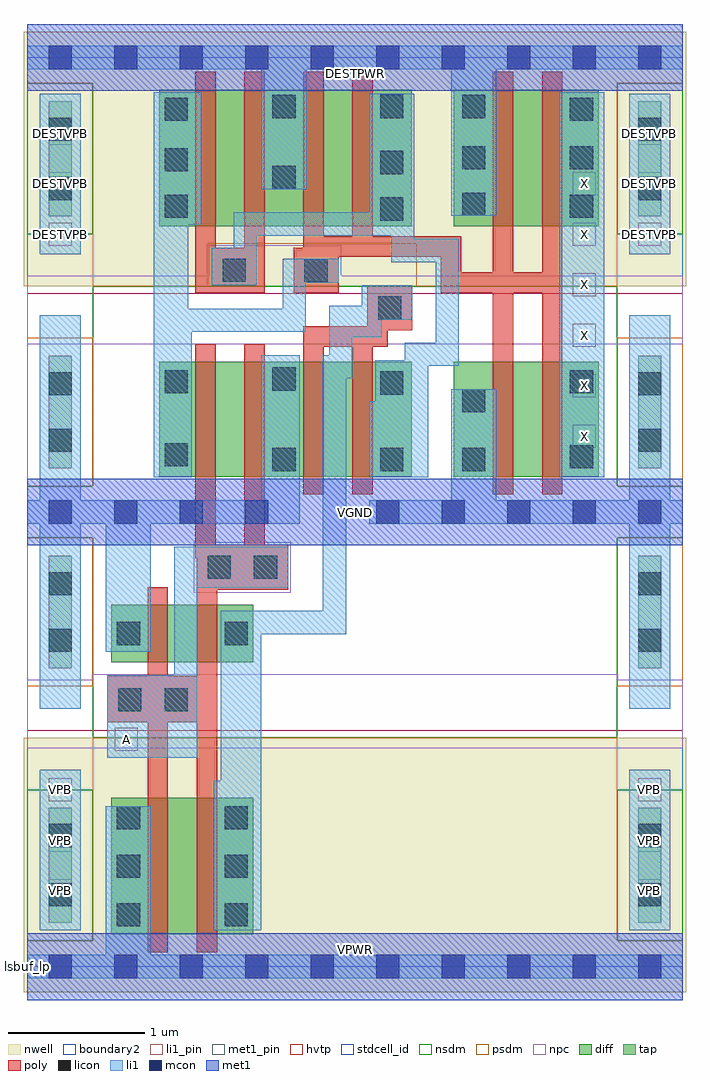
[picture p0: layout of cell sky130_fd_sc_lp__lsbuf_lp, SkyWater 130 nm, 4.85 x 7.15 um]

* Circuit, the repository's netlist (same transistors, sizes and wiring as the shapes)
* Copyright 2020 The SkyWater PDK Authors
*
* Licensed under the Apache License, Version 2.0 (the "License");
* you may not use this file except in compliance with the License.
* You may obtain a copy of the License at
*
*     https://www.apache.org/licenses/LICENSE-2.0
*
* Unless required by applicable law or agreed to in writing, software
* distributed under the License is distributed on an "AS IS" BASIS,
* WITHOUT WARRANTIES OR CONDITIONS OF ANY KIND, either express or implied.
* See the License for the specific language governing permissions and
* limitations under the License.
*
* SPDX-License-Identifier: Apache-2.0

.SUBCKT sky130_fd_sc_lp__lsbuf_lp A DESTPWR DESTVPB VGND VPB VPWR X
*.PININFO A:I DESTPWR:I DESTVPB:I VGND:I VPB:I VPWR:I X:O
MI2 cross2 cross1 sndP1a DESTVPB sky130_fd_pr__pfet_01v8_hvt m=1 w=1.0U l=0.15U mult=1
+ sa=0.265 sb=0.265 sd=0.28 area=0.063 perim=1.14
MI3 cross1 cross2 sndP2a DESTVPB sky130_fd_pr__pfet_01v8_hvt m=1 w=1.0U l=0.15U mult=1
+ sa=0.265 sb=0.265 sd=0.28 area=0.063 perim=1.14
MI18 sndP1a cross1 DESTPWR DESTVPB sky130_fd_pr__pfet_01v8_hvt m=1 w=1.0U l=0.15U
+ mult=1 sa=0.265 sb=0.265 sd=0.28 area=0.063
+ perim=1.14
MI20 Ab A net56 VPB sky130_fd_pr__pfet_01v8_hvt m=1 w=1.0U l=0.15U mult=1 sa=0.265
+ sb=0.265 sd=0.28 area=0.063 perim=1.14
MI7 net56 A VPWR VPB sky130_fd_pr__pfet_01v8_hvt m=1 w=1.0U l=0.15U mult=1 sa=0.265
+ sb=0.265 sd=0.28 area=0.063 perim=1.14
MI15 net40 cross2 DESTPWR DESTVPB sky130_fd_pr__pfet_01v8_hvt m=1 w=1.0U l=0.15U
+ mult=1 sa=0.265 sb=0.265 sd=0.28 area=0.063
+ perim=1.14
MI19 sndP2a cross2 DESTPWR DESTVPB sky130_fd_pr__pfet_01v8_hvt m=1 w=1.0U l=0.15U
+ mult=1 sa=0.265 sb=0.265 sd=0.28 area=0.063
+ perim=1.14
MI24 X cross2 net40 DESTVPB sky130_fd_pr__pfet_01v8_hvt m=1 w=1.0U l=0.15U mult=1
+ sa=0.265 sb=0.265 sd=0.28 area=0.063 perim=1.14
MI5 cross1 Ab net77 VGND sky130_fd_pr__nfet_01v8 m=1 w=0.84U l=0.15U mult=1 sa=0.265
+ sb=0.265 sd=0.28 area=0.063 perim=1.14
MI4 cross2 A net81 VGND sky130_fd_pr__nfet_01v8 m=1 w=0.84U l=0.15U mult=1 sa=0.265
+ sb=0.265 sd=0.28 area=0.063 perim=1.14
MI8 net93 A VGND VGND sky130_fd_pr__nfet_01v8 m=1 w=0.42U l=0.15U mult=1 sa=0.265
+ sb=0.265 sd=0.28 area=0.063 perim=1.14
MI16 net72 cross2 VGND VGND sky130_fd_pr__nfet_01v8 m=1 w=0.84U l=0.15U mult=1
+ sa=0.265 sb=0.265 sd=0.28 area=0.063 perim=1.14
MI23 Ab A net93 VGND sky130_fd_pr__nfet_01v8 m=1 w=0.42U l=0.15U mult=1 sa=0.265
+ sb=0.265 sd=0.28 area=0.063 perim=1.14
MI21 net81 A VGND VGND sky130_fd_pr__nfet_01v8 m=1 w=0.84U l=0.15U mult=1 sa=0.265
+ sb=0.265 sd=0.28 area=0.063 perim=1.14
MI22 net77 Ab VGND VGND sky130_fd_pr__nfet_01v8 m=1 w=0.84U l=0.15U mult=1 sa=0.265
+ sb=0.265 sd=0.28 area=0.063 perim=1.14
MI25 X cross2 net72 VGND sky130_fd_pr__nfet_01v8 m=1 w=0.84U l=0.15U mult=1 sa=0.265
+ sb=0.265 sd=0.28 area=0.063 perim=1.14
.ENDS sky130_fd_sc_lp__lsbuf_lp

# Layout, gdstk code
import gdstk
lib = gdstk.Library(unit=1e-6, precision=1e-09)
def R(c, l, rs):  # rectangles x0, y0, x1, y1
    for r in rs: c.add(gdstk.rectangle(r[:2], r[2:], *l))
def A(c, l, x, y, w, h, nx, ny, dx, dy):  # array of equal rectangles
    R(c, l, [(x+i*dx, y+j*dy, x+i*dx+w, y+j*dy+h) for i in range(nx) for j in range(ny)])
def P(c, l, *ps):  # polygons
    for p in ps: c.add(gdstk.Polygon(p, *l))
nwell = (64, 20)
diff = (65, 20)
tap = (65, 44)
poly = (66, 20)
licon = (66, 44)
li1_pin = (67, 16)
li1 = (67, 20)
mcon = (67, 44)
met1_pin = (68, 16)
met1 = (68, 20)
hvtp = (78, 44)
stdcell_id = (81, 4)
nsdm = (93, 44)
psdm = (94, 20)
npc = (95, 20)
boundary2 = (236, 0)

sky130_fd_sc_lp__lsbuf_l = lib.new_cell('sky130_fd_sc_lp__lsbuf_lp')
R(sky130_fd_sc_lp__lsbuf_l, nwell, [(-0.025,-0.19,4.825,1.675), (-0.025,4.985,4.825,6.85)])
R(sky130_fd_sc_lp__lsbuf_l, diff, [(0.615,0.235,1.655,1.235), (0.615,2.23,1.655,2.65), (0.965,3.59,2.815,4.43), (3.125,3.59,4.185,4.43), (0.965,5.425,2.815,6.425), (3.125,5.425,4.185,6.425)])
R(sky130_fd_sc_lp__lsbuf_l, tap, [(0.155,0.32,0.325,1.165), (4.475,0.32,4.645,1.165), (0.155,2.185,0.325,3.01), (4.475,2.185,4.645,3.01), (0.155,3.65,0.325,4.475), (4.475,3.65,4.645,4.475), (0.155,5.495,0.325,6.34), (4.475,5.495,4.645,6.34)])
P(sky130_fd_sc_lp__lsbuf_l, poly, [(1.91,3.09),(1.74,3.09),(1.74,4.56),(1.59,4.56),(1.59,3.09),(1.38,3.09),(1.38,4.56),(1.23,4.56),(1.23,2.99),(1.24,2.99),(1.24,2.13),(1.03,2.13),(1.03,2.78),(0.88,2.78),(0.88,2.13),(0.585,2.13),(0.585,1.79),(0.88,1.79),(0.88,0.105),(1.03,0.105),(1.03,1.79),(1.24,1.79),(1.24,0.105),(1.39,0.105),(1.39,2.76),(1.91,2.76)],
  [(3.92,6.555),(3.77,6.555),(3.77,5.085),(3.56,5.085),(3.56,6.555),(3.41,6.555),(3.41,5.085),(3.18,5.085),(3.18,5.35),(2.53,5.35),(2.53,6.555),(2.38,6.555),(2.38,5.35),(2.17,5.35),(2.17,6.555),(2.02,6.555),(2.02,5.265),(1.95,5.265),(1.95,4.935),(2.28,4.935),(2.28,5.2),(3.03,5.2),(3.03,4.935),(3.41,4.935),(3.41,3.46),(3.56,3.46),(3.56,4.935),(3.77,4.935),(3.77,3.46),(3.92,3.46)],
  [(1.74,6.555),(1.59,6.555),(1.59,5.265),(1.38,5.265),(1.38,6.555),(1.23,6.555),(1.23,4.935),(1.74,4.935)],
  [(2.82,4.99),(2.49,4.99),(2.49,4.69),(2.02,4.69),(2.02,3.46),(2.17,3.46),(2.17,4.54),(2.38,4.54),(2.38,3.46),(2.53,3.46),(2.53,4.54),(2.64,4.54),(2.64,4.66),(2.82,4.66)])
A(sky130_fd_sc_lp__lsbuf_l, licon, 0.655, 0.295, 0.17, 0.17, 1, 3, 0, 0.355)
A(sky130_fd_sc_lp__lsbuf_l, licon, 1.445, 0.295, 0.17, 0.17, 1, 3, 0, 0.355)
A(sky130_fd_sc_lp__lsbuf_l, licon, 3.975, 5.485, 0.17, 0.17, 1, 3, 0, 0.355)
R(sky130_fd_sc_lp__lsbuf_l, licon, [(0.155,0.44,0.325,0.61), (4.475,0.44,4.645,0.61), (0.155,0.875,0.325,1.045), (4.475,0.875,4.645,1.045), (0.665,1.87,0.835,2.04), (1.005,1.87,1.175,2.04), (0.155,2.305,0.325,2.475), (4.475,2.305,4.645,2.475), (0.655,2.355,0.825,2.525), (1.445,2.355,1.615,2.525), (0.155,2.72,0.325,2.89), (4.475,2.72,4.645,2.89), (1.32,2.84,1.49,3.01), (1.66,2.84,1.83,3.01), (1.795,3.63,1.965,3.8), (2.585,3.63,2.755,3.8), (3.185,3.63,3.355,3.8), (3.975,3.65,4.145,3.82), (1.005,3.665,1.175,3.835), (0.155,3.77,0.325,3.94), (4.475,3.77,4.645,3.94), (3.185,4.06,3.355,4.23), (0.155,4.185,0.325,4.355), (4.475,4.185,4.645,4.355), (2.585,4.19,2.755,4.36), (1.005,4.2,1.175,4.37), (3.975,4.2,4.145,4.37), (1.795,4.22,1.965,4.39), (2.57,4.74,2.74,4.91), (1.43,5.015,1.6,5.185), (2.03,5.015,2.2,5.185), (2.585,5.465,2.755,5.635), (1.005,5.485,1.175,5.655), (3.185,5.5,3.355,5.67), (0.155,5.615,0.325,5.785), (4.475,5.615,4.645,5.785), (1.795,5.695,1.965,5.865), (2.585,5.805,2.755,5.975), (1.005,5.825,1.175,5.995), (3.185,5.84,3.355,6.01), (0.155,6.05,0.325,6.22), (4.475,6.05,4.645,6.22), (1.005,6.195,1.175,6.365), (1.795,6.215,1.965,6.385), (2.585,6.215,2.755,6.385), (3.185,6.215,3.355,6.385)])
A(sky130_fd_sc_lp__lsbuf_l, li1_pin, 0.155, 0.47, 0.17, 0.17, 1, 3, 0, 0.37)
A(sky130_fd_sc_lp__lsbuf_l, li1_pin, 4.475, 0.47, 0.17, 0.17, 1, 3, 0, 0.37)
A(sky130_fd_sc_lp__lsbuf_l, li1_pin, 3.995, 3.8, 0.17, 0.17, 1, 6, 0, 0.37)
A(sky130_fd_sc_lp__lsbuf_l, li1_pin, 0.155, 5.28, 0.17, 0.17, 1, 3, 0, 0.37)
A(sky130_fd_sc_lp__lsbuf_l, li1_pin, 4.475, 5.28, 0.17, 0.17, 1, 3, 0, 0.37)
R(sky130_fd_sc_lp__lsbuf_l, li1_pin, [(0.64,1.58,0.81,1.75)])
R(sky130_fd_sc_lp__lsbuf_l, li1, [(0.09,0.265,0.39,1.44), (4.41,0.265,4.71,1.44), (3.895,3.585,4.225,6.405), (0.09,5.22,0.39,6.395), (4.41,5.22,4.71,6.395)])
P(sky130_fd_sc_lp__lsbuf_l, li1, [(4.8,0.085),(0.905,0.085),(0.905,1.175),(0.575,1.175),(0.575,0.085),(0,0.085),(0,-0.085),(4.8,-0.085)],
  [(2.82,4.99),(2.45,4.99),(2.45,4.84),(2.21,4.84),(2.21,4.48),(2.165,4.48),(2.165,2.605),(1.415,2.605),(1.415,1.36),(1.365,1.36),(1.365,0.265),(1.715,0.265),(1.715,2.435),(2.335,2.435),(2.335,4.31),(2.38,4.31),(2.38,4.61),(2.595,4.61),(2.595,4.74),(2.82,4.74)],
  [(4.8,3.415),(4.71,3.415),(4.71,4.77),(4.41,4.77),(4.41,3.415),(3.435,3.415),(3.435,4.23),(3.105,4.23),(3.105,3.415),(2.505,3.415),(2.505,3.245),(4.41,3.245),(4.41,1.89),(4.71,1.89),(4.71,3.245),(4.8,3.245)],
  [(2.28,5.185),(1.87,5.185),(1.87,4.82),(1.18,4.82),(1.18,5.435),(1.275,5.435),(1.275,6.405),(0.925,6.405),(0.925,3.585),(1.205,3.585),(1.205,4.65),(2.04,4.65),(2.04,5.01),(2.28,5.01)],
  [(1.91,3.075),(1.075,3.075),(1.075,2.135),(0.585,2.135),(0.585,1.53),(1.245,1.53),(1.245,2.775),(1.91,2.775)],
  [(1.995,4.48),(1.715,4.48),(1.715,3.415),(0.39,3.415),(0.39,4.77),(0.09,4.77),(0.09,3.415),(0,3.415),(0,3.245),(0.09,3.245),(0.09,1.89),(0.39,1.89),(0.39,3.245),(0.575,3.245),(0.575,2.305),(0.905,2.305),(0.905,3.245),(1.995,3.245)],
  [(4.8,6.745),(0,6.745),(0,6.575),(1.715,6.575),(1.715,5.695),(2.045,5.695),(2.045,6.575),(3.105,6.575),(3.105,5.5),(3.435,5.5),(3.435,6.575),(4.8,6.575)],
  [(3.16,5.33),(2.835,5.33),(2.835,6.395),(2.505,6.395),(2.505,5.525),(1.51,5.525),(1.51,5.265),(1.35,5.265),(1.35,4.99),(1.68,4.99),(1.68,5.355),(2.665,5.355),(2.665,5.16),(2.99,5.16),(2.99,4.57),(2.765,4.57),(2.765,4.44),(2.55,4.44),(2.55,4.14),(2.505,4.14),(2.505,3.585),(2.935,3.585),(2.935,4.4),(3.16,4.4)])
A(sky130_fd_sc_lp__lsbuf_l, mcon, 0.155, -0.085, 0.17, 0.17, 10, 2, 0.48, 6.66)
A(sky130_fd_sc_lp__lsbuf_l, mcon, 0.155, 3.245, 0.17, 0.17, 4, 1, 0.48, 0)
A(sky130_fd_sc_lp__lsbuf_l, mcon, 2.555, 3.245, 0.17, 0.17, 5, 1, 0.48, 0)
R(sky130_fd_sc_lp__lsbuf_l, met1_pin, [(0,0,4.8,0.245), (0,3.085,4.8,3.575), (0,6.415,4.8,6.66)])
A(sky130_fd_sc_lp__lsbuf_l, met1, 0, -0.245, 4.8, 0.49, 1, 3, 0, 3.33)
R(sky130_fd_sc_lp__lsbuf_l, hvtp, [(0,0,4.8,1.73), (0,4.93,4.8,6.66)])
R(sky130_fd_sc_lp__lsbuf_l, stdcell_id, [(0,0,4.8,6.66)])
R(sky130_fd_sc_lp__lsbuf_l, nsdm, [(0,0.19,0.48,1.295), (4.32,0.19,4.8,1.295), (0,5.365,0.48,6.47), (4.32,5.365,4.8,6.47)])
P(sky130_fd_sc_lp__lsbuf_l, nsdm, [(4.8,3.52),(4.32,3.52),(4.32,4.985),(0.48,4.985),(0.48,3.52),(0,3.52),(0,3.14),(0.48,3.14),(0.48,1.675),(4.32,1.675),(4.32,3.14),(4.8,3.14)])
R(sky130_fd_sc_lp__lsbuf_l, psdm, [(0,2.055,0.48,3.14), (4.32,2.055,4.8,3.14), (0,3.52,0.48,4.605), (4.32,3.52,4.8,4.605)])
P(sky130_fd_sc_lp__lsbuf_l, psdm, [(4.8,0.19),(4.32,0.19),(4.32,1.675),(0.48,1.675),(0.48,0.19),(0,0.19),(0,-0.19),(4.8,-0.19)],
  [(4.8,6.85),(0,6.85),(0,6.47),(0.48,6.47),(0.48,4.985),(1.32,4.985),(1.32,5.295),(2.85,5.295),(2.85,4.985),(4.32,4.985),(4.32,6.47),(4.8,6.47)])
R(sky130_fd_sc_lp__lsbuf_l, npc, [(1.22,2.74,1.93,3.11)])
P(sky130_fd_sc_lp__lsbuf_l, npc, [(4.8,5.06),(2.3,5.06),(2.3,5.285),(1.33,5.285),(1.33,5.06),(0,5.06),(0,4.56),(4.8,4.56)],
  [(4.8,2.1),(4.32,2.1),(4.32,2.14),(0.48,2.14),(0.48,2.1),(0,2.1),(0,1.6),(4.8,1.6)])
R(sky130_fd_sc_lp__lsbuf_l, boundary2, [(0,0,4.8,6.66)])
sky130_fd_sc_lp__lsbuf_l.add(gdstk.Label('X', (4.08,3.885), layer=67, texttype=5))
sky130_fd_sc_lp__lsbuf_l.add(gdstk.Label('X', (4.08,4.255), layer=67, texttype=5))
sky130_fd_sc_lp__lsbuf_l.add(gdstk.Label('X', (4.08,5.735), layer=67, texttype=5))
sky130_fd_sc_lp__lsbuf_l.add(gdstk.Label('X', (4.08,5.365), layer=67, texttype=5))
sky130_fd_sc_lp__lsbuf_l.add(gdstk.Label('X', (4.08,4.995), layer=67, texttype=5))
sky130_fd_sc_lp__lsbuf_l.add(gdstk.Label('X', (4.08,4.625), layer=67, texttype=5))
sky130_fd_sc_lp__lsbuf_l.add(gdstk.Label('A', (0.725,1.665), layer=67, texttype=5))
sky130_fd_sc_lp__lsbuf_l.add(gdstk.Label('VPB', (0.24,1.295), layer=67, texttype=5))
sky130_fd_sc_lp__lsbuf_l.add(gdstk.Label('VPB', (0.24,0.555), layer=67, texttype=5))
sky130_fd_sc_lp__lsbuf_l.add(gdstk.Label('VPB', (0.24,0.925), layer=67, texttype=5))
sky130_fd_sc_lp__lsbuf_l.add(gdstk.Label('DESTVPB', (0.24,6.105), layer=67, texttype=5))
sky130_fd_sc_lp__lsbuf_l.add(gdstk.Label('DESTVPB', (0.24,5.735), layer=67, texttype=5))
sky130_fd_sc_lp__lsbuf_l.add(gdstk.Label('VPB', (4.56,0.555), layer=67, texttype=5))
sky130_fd_sc_lp__lsbuf_l.add(gdstk.Label('VPB', (4.56,0.925), layer=67, texttype=5))
sky130_fd_sc_lp__lsbuf_l.add(gdstk.Label('DESTVPB', (4.56,6.105), layer=67, texttype=5))
sky130_fd_sc_lp__lsbuf_l.add(gdstk.Label('DESTVPB', (4.56,5.735), layer=67, texttype=5))
sky130_fd_sc_lp__lsbuf_l.add(gdstk.Label('DESTVPB', (4.56,5.365), layer=67, texttype=5))
sky130_fd_sc_lp__lsbuf_l.add(gdstk.Label('VPB', (4.56,1.295), layer=67, texttype=5))
sky130_fd_sc_lp__lsbuf_l.add(gdstk.Label('DESTVPB', (0.24,5.365), layer=67, texttype=5))
sky130_fd_sc_lp__lsbuf_l.add(gdstk.Label('lsbuf_lp', (0,0), layer=83, texttype=44))
sky130_fd_sc_lp__lsbuf_l.add(gdstk.Label('VPWR', (2.4,0.125), layer=68, texttype=5))
sky130_fd_sc_lp__lsbuf_l.add(gdstk.Label('DESTPWR', (2.4,6.54), layer=68, texttype=5))
sky130_fd_sc_lp__lsbuf_l.add(gdstk.Label('VGND', (2.4,3.33), layer=68, texttype=5))

lib.write_gds('sky130_fd_sc_lp__lsbuf_lp.gds')
